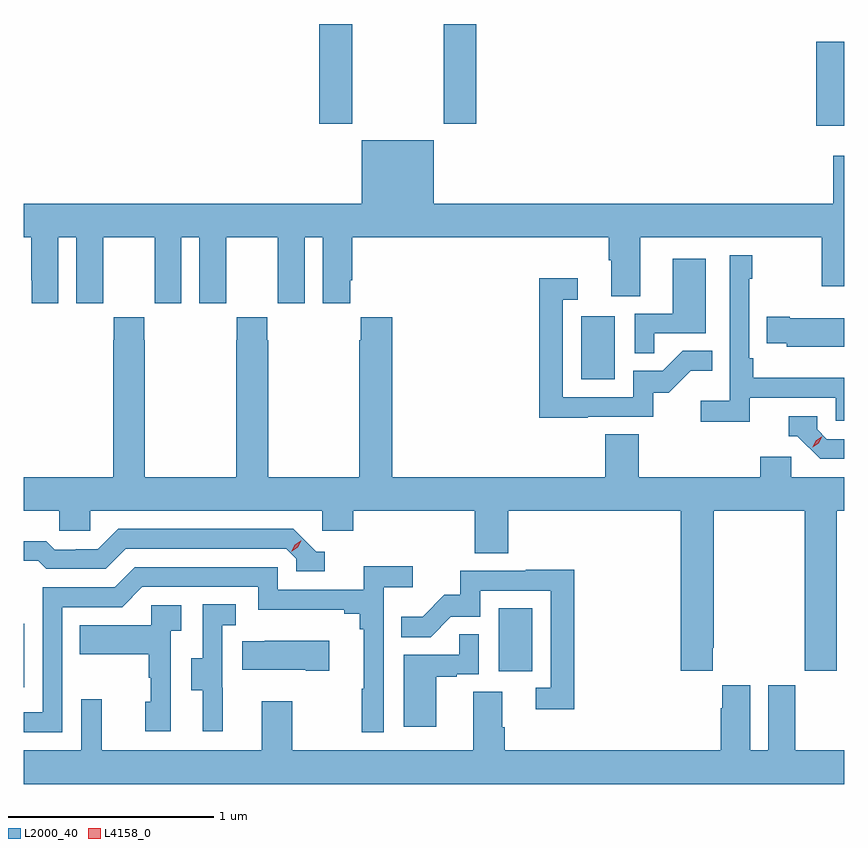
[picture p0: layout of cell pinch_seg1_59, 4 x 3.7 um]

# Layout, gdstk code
import gdstk
lib = gdstk.Library(unit=1e-6, precision=1e-09)
def R(c, l, rs):  # rectangles x0, y0, x1, y1
    for r in rs: c.add(gdstk.rectangle(r[:2], r[2:], *l))
def P(c, l, *ps):  # polygons
    for p in ps: c.add(gdstk.Polygon(p, *l))
L2000_40 = (2000, 40)
L4158_0 = (4158, 0)

pinch_seg1_59 = lib.new_cell('pinch_seg1_59')
R(pinch_seg1_59, L2000_40, [(1033.287,566.856,1033.29,567.166), (1035.602,566.934,1035.766,567.241), (1036.004,568.356,1036.168,568.663), (1037.15,569.591,1037.287,570.001), (1034.728,569.601,1034.889,570.088), (1035.334,569.601,1035.494,570.088)])
P(pinch_seg1_59, L2000_40, [(1033.456,569.048),(1033.544,569.048),(1033.544,568.728),(1033.674,568.728),(1033.674,568.84),(1033.675,568.84),(1033.675,569.048),(1033.925,569.048),(1033.925,568.84),(1033.926,568.84),(1033.926,568.728),(1034.056,568.728),(1034.056,569.048),(1034.144,569.048),(1034.144,568.728),(1034.274,568.728),(1034.274,568.84),(1034.275,568.84),(1034.275,569.048),(1034.525,569.048),(1034.525,568.84),(1034.526,568.84),(1034.526,568.728),(1034.656,568.728),(1034.656,569.048),(1034.744,569.048),(1034.744,568.728),(1034.878,568.728),(1034.878,568.84),(1034.888,568.84),(1034.888,569.048),(1036.139,569.048),(1036.139,568.936),(1036.151,568.936),(1036.151,568.762),(1036.291,568.762),(1036.291,569.048),(1037.176,569.048),(1037.176,568.809),(1037.287,568.809),(1037.287,569.446),(1037.233,569.446),(1037.233,569.212),(1035.286,569.212),(1035.286,569.521),(1034.936,569.521),(1034.936,569.212),(1033.287,569.212),(1033.287,569.048),(1033.325,569.048),(1033.325,568.84),(1033.326,568.84),(1033.326,568.728),(1033.456,568.728)],
  [(1036.826,568.266),(1037.244,568.266),(1037.244,568.155),(1037.287,568.155),(1037.287,568.363),(1036.844,568.363),(1036.844,568.459),(1036.824,568.459),(1036.824,568.847),(1036.837,568.847),(1036.837,568.96),(1036.728,568.96),(1036.728,568.252),(1036.587,568.252),(1036.587,568.15),(1036.826,568.15)],
  [(1036.361,568.581),(1036.612,568.581),(1036.612,568.945),(1036.451,568.945),(1036.451,568.677),(1036.266,568.677),(1036.266,568.483),(1036.361,568.483)],
  [(1036.037,568.173),(1036.356,568.173),(1036.356,568.29),(1036.432,568.29),(1036.539,568.397),(1036.643,568.397),(1036.643,568.496),(1036.5,568.496),(1036.402,568.398),(1036.257,568.398),(1036.257,568.269),(1035.915,568.269),(1035.915,568.743),(1035.988,568.743),(1035.988,568.849),(1035.799,568.849),(1035.799,568.168),(1036.037,568.168)],
  [(1037.287,568.654),(1037.02,568.654),(1037.02,568.662),(1036.909,568.662),(1036.909,568.532),(1037.007,568.532),(1037.007,568.514),(1037.287,568.514)],
  [(1036.645,567.049),(1036.65,567.049),(1036.65,567.716),(1037.095,567.716),(1037.095,566.937),(1037.25,566.937),(1037.25,567.716),(1037.287,567.716),(1037.287,567.88),(1037.028,567.88),(1037.028,567.978),(1036.877,567.978),(1036.877,567.88),(1036.286,567.88),(1036.286,568.088),(1036.121,568.088),(1036.121,567.88),(1035.083,567.88),(1035.083,568.66),(1034.929,568.66),(1034.929,568.547),(1034.923,568.547),(1034.923,567.88),(1034.478,567.88),(1034.478,568.547),(1034.475,568.547),(1034.475,568.66),(1034.325,568.66),(1034.325,568.547),(1034.323,568.547),(1034.323,567.88),(1033.878,567.88),(1033.878,568.547),(1033.875,568.547),(1033.875,568.66),(1033.725,568.66),(1033.725,568.547),(1033.723,568.547),(1033.723,567.88),(1033.287,567.88),(1033.287,567.716),(1033.461,567.716),(1033.461,567.618),(1033.611,567.618),(1033.611,567.716),(1034.742,567.716),(1034.742,567.618),(1034.894,567.618),(1034.894,567.716),(1035.485,567.716),(1035.485,567.508),(1035.65,567.508),(1035.65,567.716),(1036.49,567.716),(1036.49,566.937),(1036.645,566.937)],
  [(1037.287,568.065),(1037.202,568.065),(1037.154,568.113),(1037.154,568.176),(1037.015,568.176),(1037.015,568.08),(1037.058,568.08),(1037.169,567.969),(1037.287,567.969)],
  [(1034.755,567.516),(1034.712,567.516),(1034.601,567.627),(1033.748,567.627),(1033.649,567.528),(1033.542,567.528),(1033.542,567.525),(1033.439,567.525),(1033.397,567.568),(1033.287,567.568),(1033.287,567.471),(1033.358,567.471),(1033.397,567.432),(1033.686,567.432),(1033.785,567.531),(1034.568,567.531),(1034.616,567.483),(1034.616,567.42),(1034.755,567.42)],
  [(1033.476,567.246),(1033.767,567.246),(1033.866,567.345),(1034.43,567.345),(1034.43,567.233),(1034.849,567.233),(1034.849,567.214),(1034.926,567.214),(1034.926,567.137),(1034.945,567.137),(1034.945,566.849),(1034.934,566.849),(1034.934,566.637),(1035.042,566.637),(1035.042,567.344),(1035.184,567.344),(1035.184,567.446),(1034.945,567.446),(1034.945,567.33),(1034.526,567.33),(1034.526,567.441),(1033.829,567.441),(1033.73,567.342),(1033.38,567.342),(1033.38,566.733),(1033.287,566.733),(1033.287,566.637),(1033.476,566.637)],
  [(1035.971,567.428),(1035.733,567.428),(1035.733,567.423),(1035.415,567.423),(1035.415,567.306),(1035.338,567.306),(1035.231,567.199),(1035.127,567.199),(1035.127,567.1),(1035.271,567.1),(1035.369,567.198),(1035.513,567.198),(1035.513,567.327),(1035.855,567.327),(1035.855,566.853),(1035.783,566.853),(1035.783,566.748),(1035.971,566.748)],
  [(1034.257,566.853),(1034.256,566.853),(1034.256,567.157),(1034.32,567.157),(1034.32,567.26),(1034.16,567.26),(1034.16,566.997),(1034.105,566.997),(1034.105,566.842),(1034.159,566.842),(1034.159,566.64),(1034.257,566.64)],
  [(1034.004,567.131),(1034.055,567.131),(1034.055,567.255),(1033.908,567.255),(1033.908,567.157),(1033.561,567.157),(1033.561,567.017),(1033.896,567.017),(1033.896,566.903),(1033.906,566.903),(1033.906,566.784),(1033.88,566.784),(1033.88,566.64),(1034.004,566.64)],
  [(1035.298,566.907),(1035.398,566.907),(1035.398,566.919),(1035.504,566.919),(1035.504,567.113),(1035.409,567.113),(1035.409,567.015),(1035.14,567.015),(1035.14,566.664),(1035.298,566.664)],
  [(1034.776,567.082),(1034.461,567.082),(1034.461,567.079),(1034.353,567.079),(1034.353,566.942),(1034.663,566.942),(1034.663,566.935),(1034.776,566.935)],
  [(1037.287,566.548),(1037.047,566.548),(1037.047,566.866),(1036.916,566.866),(1036.916,566.548),(1036.828,566.548),(1036.828,566.866),(1036.691,566.866),(1036.691,566.753),(1036.685,566.753),(1036.685,566.548),(1035.632,566.548),(1035.632,566.66),(1035.619,566.66),(1035.619,566.834),(1035.479,566.834),(1035.479,566.548),(1034.595,566.548),(1034.595,566.788),(1034.447,566.788),(1034.447,566.548),(1033.667,566.548),(1033.667,566.797),(1033.569,566.797),(1033.569,566.548),(1033.287,566.548),(1033.287,566.384),(1037.287,566.384)])
P(pinch_seg1_59, L4158_0, [(1034.592,567.517),(1034.592,567.517),(1034.608,567.55),(1034.638,567.57),(1034.639,567.57),(1034.639,567.57),(1034.623,567.537),(1034.592,567.517)],
  [(1037.133,568.025),(1037.133,568.025),(1037.148,568.058),(1037.179,568.078),(1037.179,568.078),(1037.179,568.078),(1037.163,568.045),(1037.133,568.025)])

lib.write_gds('pinch_seg1_59.gds')
